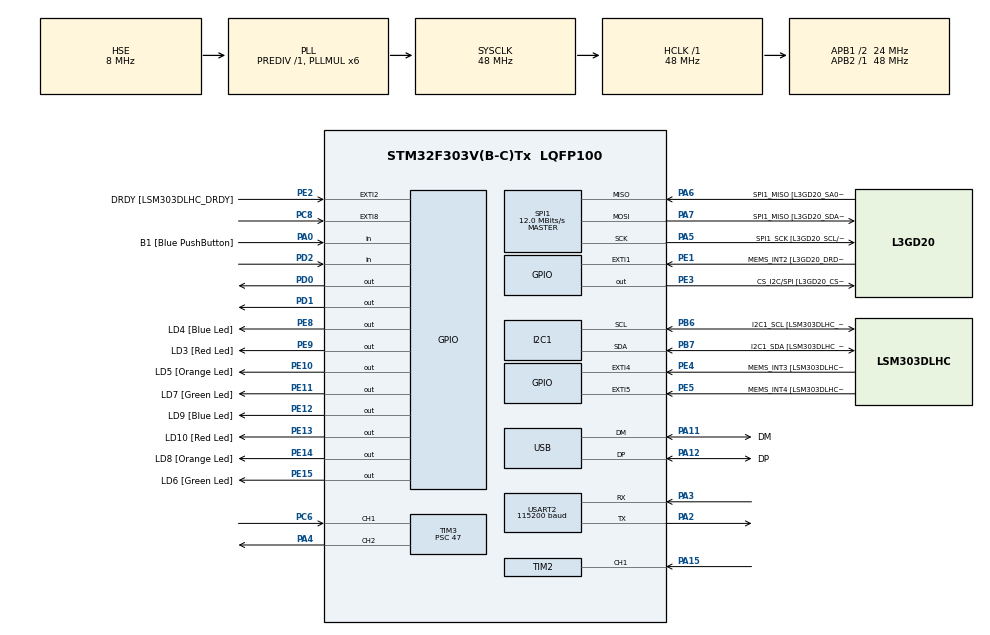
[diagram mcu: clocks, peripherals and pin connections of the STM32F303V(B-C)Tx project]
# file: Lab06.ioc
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I2C1.Timing=0x00201D2B
I2C1.Timing-I2C=0x2000090E
Mcu.Family=STM32F3
Mcu.Name=STM32F303V(B-C)Tx
Mcu.Package=LQFP100
NVIC.EXTI9_5_IRQn=true\:0\:0\:false\:false\:true\:true\:true\:true
NVIC.PriorityGroup=NVIC_PRIORITYGROUP_0
NVIC.TIM2_IRQn=true\:0\:0\:false\:false\:true\:true\:true\:true
NVIC.TIM3_IRQn=true\:0\:0\:false\:false\:true\:true\:true\:true
PA0.GPIO_Label=B1 [Blue PushButton]
PA0.Signal=GPIO_Input
PA11.GPIO_Label=DM
PA11.Mode=Device
PA11.Signal=USB_DM
PA12.GPIO_Label=DP
PA12.Mode=Device
PA12.Signal=USB_DP
PA13.GPIO_Label=SWDIO
PA13.Mode=Serial_Wire
PA13.Signal=SYS_JTMS-SWDIO
PA14.GPIO_Label=SWCLK
PA14.Mode=Serial_Wire
PA14.Signal=SYS_JTCK-SWCLK
PA15.Signal=S_TIM2_CH1_ETR
PA2.Mode=Asynchronous
PA2.Signal=USART2_TX
PA3.Mode=Asynchronous
PA3.Signal=USART2_RX
PA4.Signal=S_TIM3_CH2
PA5.GPIO_Label=SPI1_SCK [L3GD20_SCL/SPC]
PA5.Mode=Full_Duplex_Master
PA5.Signal=SPI1_SCK
PA6.GPIO_Label=SPI1_MISO [L3GD20_SA0/SDO]
PA6.Mode=Full_Duplex_Master
PA6.Signal=SPI1_MISO
PA7.GPIO_Label=SPI1_MISO [L3GD20_SDA/SDI/SDO]
PA7.Mode=Full_Duplex_Master
PA7.Signal=SPI1_MOSI
PB3.GPIO_Label=SWO
PB3.Signal=SYS_JTDO-TRACESWO
PB6.GPIO_Label=I2C1_SCL [LSM303DLHC_SCL]
PB6.GPIO_Pu=GPIO_PULLUP
PB6.Mode=I2C
PB6.Signal=I2C1_SCL
PB7.GPIO_Label=I2C1_SDA [LSM303DLHC_SDA]
PB7.GPIO_Pu=GPIO_PULLUP
PB7.Mode=I2C
PB7.Signal=I2C1_SDA
PC14-OSC32_IN.GPIO_Label=OSC32_IN
PC14-OSC32_IN.Signal=RCC_OSC32_IN
PC15-OSC32_OUT.GPIO_Label=OSC32_OUT
PC15-OSC32_OUT.Signal=RCC_OSC32_OUT
PC6.Signal=S_TIM3_CH1
PC8.Signal=GPXTI8
PD0.Signal=GPIO_Output
PD1.Signal=GPIO_Output
PD2.Signal=GPIO_Input
PE1.GPIO_Label=MEMS_INT2 [L3GD20_DRDY/INT2]
PE1.GPIO_ModeDefaultEXTI=GPIO_MODE_EVT_RISING
PE1.Signal=GPXTI1
PE10.GPIO_Label=LD5 [Orange Led]
PE10.Signal=GPIO_Output
PE11.GPIO_Label=LD7 [Green Led]
PE11.Signal=GPIO_Output
PE12.GPIO_Label=LD9 [Blue Led]
PE12.Signal=GPIO_Output
PE13.GPIO_Label=LD10 [Red Led]
PE13.Signal=GPIO_Output
PE14.GPIO_Label=LD8 [Orange Led]
PE14.Signal=GPIO_Output
PE15.GPIO_Label=LD6 [Green Led]
PE15.Signal=GPIO_Output
PE2.GPIO_Label=DRDY [LSM303DLHC_DRDY]
PE2.GPIO_ModeDefaultEXTI=GPIO_MODE_EVT_RISING
PE2.Signal=GPXTI2
PE3.GPIO_Label=CS_I2C/SPI [L3GD20_CS_I2C/SPI]
PE3.Signal=GPIO_Output
PE4.GPIO_Label=MEMS_INT3 [LSM303DLHC_INT1]
PE4.GPIO_ModeDefaultEXTI=GPIO_MODE_EVT_RISING
PE4.Signal=GPXTI4
PE5.GPIO_Label=MEMS_INT4 [LSM303DLHC_INT2]
PE5.GPIO_ModeDefaultEXTI=GPIO_MODE_EVT_RISING
PE5.Signal=GPXTI5
PE8.GPIO_Label=LD4 [Blue Led]
PE8.Signal=GPIO_Output
PE9.GPIO_Label=LD3 [Red Led]
PE9.Signal=GPIO_Output
PF0-OSC_IN.GPIO_Label=OSC_IN
PF0-OSC_IN.Mode=HSE-External-Clock-Source
PF0-OSC_IN.Signal=RCC_OSC_IN
PF1-OSC_OUT.GPIO_Label=OSC_OUT
PF1-OSC_OUT.Signal=RCC_OSC_OUT
ProjectManager.HeapSize=0x200
ProjectManager.StackSize=0x400
ProjectManager.TargetToolchain=CMake
RCC.AHBFreq_Value=48000000
RCC.APB1CLKDivider=RCC_HCLK_DIV2
RCC.APB1Freq_Value=24000000
RCC.APB1TimFreq_Value=48000000
RCC.APB2Freq_Value=48000000
RCC.APB2TimFreq_Value=48000000
RCC.CortexFreq_Value=48000000
RCC.HCLKFreq_Value=48000000
RCC.HSE_VALUE=8000000
RCC.HSI_VALUE=8000000
RCC.LSE_VALUE=32768
RCC.PLLMUL=RCC_PLL_MUL6
RCC.SYSCLKFreq_VALUE=48000000
RCC.SYSCLKSourceVirtual=RCC_SYSCLKSOURCE_PLLCLK
RCC.USBFreq_Value=48000000
SH.S_TIM2_CH1_ETR.0=TIM2_CH1,Input_Capture1_from_TI1
SH.S_TIM3_CH1.0=TIM3_CH1,Input_Capture1_from_TI1
SH.S_TIM3_CH2.0=TIM3_CH2,PWM Generation2 CH2
SPI1.BaudRatePrescaler=SPI_BAUDRATEPRESCALER_4
SPI1.BaudRatePrescaler-Full_Duplex_Master=SPI_BAUDRATEPRESCALER_2
SPI1.CalculateBaudRate=12.0 MBits/s
SPI1.CalculateBaudRate-Full_Duplex_Master=24.0 MBits/s
SPI1.Direction=SPI_DIRECTION_2LINES
SPI1.Mode=SPI_MODE_MASTER
SPI1.Mode-Full_Duplex_Master=SPI_MODE_MASTER
SPI1.VirtualType=VM_MASTER
TIM2.Channel-Input_Capture1_from_TI1=TIM_CHANNEL_1
TIM2.Period=999
TIM2.Prescaler=47
TIM3.Channel-Input_Capture1_from_TI1=TIM_CHANNEL_1
TIM3.Channel-PWM\ Generation2\ CH2=TIM_CHANNEL_2
TIM3.Period=999
TIM3.Prescaler=47
USART2.BaudRate=115200
USART2.VirtualMode-Asynchronous=VM_ASYNC
VP_TIM2_VS_ClockSourceINT.Mode=Internal
VP_TIM3_VS_ClockSourceINT.Mode=Internal
board=STM32F3DISCOVERY

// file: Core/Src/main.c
/* USER CODE BEGIN Header */
/**
  ******************************************************************************
  * @file           : main.c
  * @brief          : Main program body
  ******************************************************************************
  * @attention
  *
  * Copyright (c) 2026 STMicroelectronics.
  * All rights reserved.
  *
  * This software is licensed under terms that can be found in the LICENSE file
  * in the root directory of this software component.
  * If no LICENSE file comes with this software, it is provided AS-IS.
  *
  ******************************************************************************
  */
/* USER CODE END Header */
#include "main.h"
#include "stdio.h"
#include "string.h"

I2C_HandleTypeDef hi2c1;

SPI_HandleTypeDef hspi1;

TIM_HandleTypeDef htim2;
TIM_HandleTypeDef htim3;

UART_HandleTypeDef huart2;

PCD_HandleTypeDef hpcd_USB_FS;

void SystemClock_Config(void);
static void MX_GPIO_Init(void);
static void MX_I2C1_Init(void);
static void MX_SPI1_Init(void);
static void MX_TIM2_Init(void);
static void MX_USART2_UART_Init(void);
static void MX_USB_PCD_Init(void);
static void MX_TIM3_Init(void);

/* USER CODE BEGIN 0 */

/* USER CODE BEGIN 0 */

// Task 1 and 2
static uint32_t captureBuffer[16];
static uint32_t lastCapture = 0;
static uint8_t  sampleIndex = 0;
static uint8_t  firstEdge   = 1;
static volatile uint8_t printFlag = 0;
static volatile float measuredFreq = 0.0f;
// Task 4
// static uint32_t ic_val1 = 0;
// static uint32_t ic_val2 = 0;
// static uint32_t period  = 0;

// Task 1
void HAL_GPIO_EXTI_Callback(uint16_t GPIO_Pin)
{
    if (GPIO_Pin != GPIO_PIN_8) return;

    if (firstEdge)
    {
        __HAL_TIM_SET_COUNTER(&htim2, 0);
        HAL_TIM_Base_Start(&htim2);
        lastCapture = 0;
        firstEdge   = 0;
    }
    else
    {
        uint32_t now = __HAL_TIM_GET_COUNTER(&htim2);

        uint32_t period;
        if (now >= lastCapture)
            period = now - lastCapture;
        else
            period = (0xFFFFFFFFUL - lastCapture) + now + 1UL;

        captureBuffer[sampleIndex++] = period;
        lastCapture = now;

        if (sampleIndex >= 16)HAL_Delay(100);

        {
            sampleIndex = 0;
            firstEdge   = 1;
            HAL_TIM_Base_Stop(&htim2);
            printFlag   = 1;
        }
    }
}

// Task 2
// void HAL_TIM_IC_CaptureCallback(TIM_HandleTypeDef *htim)
// {
//     if (htim->Instance != TIM3) return;
//     if (htim->Channel  != HAL_TIM_ACTIVE_CHANNEL_1) return;

//     uint32_t now = HAL_TIM_ReadCapturedValue(htim, TIM_CHANNEL_1);

//     if (firstEdge)
//     {
//         lastCapture = now;
//         firstEdge = 0;
//     }
//     else
//     {
//         uint32_t period;
//         if (now >= lastCapture)
//             period = now - lastCapture;
//         else
//             period = (0xFFFFFFFFUL - lastCapture) + now + 1UL;

//         lastCapture = now;

//         if (period > 0)
//         {
//             measuredFreq = 666666 / (float)period;
//             printFlag   = 1;
//         }
//     }
// }

// Task 4
// void HAL_TIM_IC_CaptureCallback(TIM_HandleTypeDef *htim)
// {
//     if (htim->Instance != TIM3) return;
//     if (htim->Channel  != HAL_TIM_ACTIVE_CHANNEL_1) return;

//     uint32_t now = HAL_TIM_ReadCapturedValue(htim, TIM_CHANNEL_1);

//     if (firstEdge)
//     {
//         ic_val1 = now;
//         firstEdge = 0;
//     }
//     else
//     {
//         ic_val2 = now;
//         if (ic_val2 >= ic_val1)
//             period = ic_val2 - ic_val1;
//         else
//             period = (0xFFFFUL - ic_val1) + ic_val2 + 1UL;

//         if (period > 0)
//         {
//             measuredFreq = 1000000.0f / (float)period;
//             printFlag    = 1;
//         }

//         ic_val1 = ic_val2;
//     }
// }
/* USER CODE END 0 */

int main(void)
{

  /* MCU Configuration--------------------------------------------------------*/

  /* Reset of all peripherals, Initializes the Flash interface and the Systick. */
  HAL_Init();

  /* Configure the system clock */
  SystemClock_Config();

  /* Initialize all configured peripherals */
  MX_GPIO_Init();
  MX_I2C1_Init();
  MX_SPI1_Init();
  MX_TIM2_Init();
  MX_USART2_UART_Init();
  MX_USB_PCD_Init();
  MX_TIM3_Init();

  /* Infinite loop */
  /* USER CODE BEGIN WHILE */

  // Task 2
  // HAL_TIM_IC_Start_IT(&htim3, TIM_CHANNEL_1);

  // Task 3
  // HAL_TIM_PWM_Start(&htim3, TIM_CHANNEL_2);
  // __HAL_TIM_SET_COMPARE(&htim3, TIM_CHANNEL_2, 500);

  // HAL_GPIO_WritePin(GPIOD, GPIO_PIN_0, GPIO_PIN_SET);
  // HAL_GPIO_WritePin(GPIOD, GPIO_PIN_1, GPIO_PIN_RESET);

  // HAL_TIM_Base_Start(&htim2);

  // Task 4
  HAL_TIM_PWM_Start(&htim3, TIM_CHANNEL_2);
  __HAL_TIM_SET_COMPARE(&htim3, TIM_CHANNEL_2, 32767);
  HAL_GPIO_WritePin(GPIOD, GPIO_PIN_0, GPIO_PIN_SET);
  HAL_GPIO_WritePin(GPIOD, GPIO_PIN_1, GPIO_PIN_RESET);
  HAL_TIM_IC_Start_IT(&htim3, TIM_CHANNEL_1);

  char msg[80];
  while (1)
  {
    /* USER CODE END WHILE */
    //Task 1
    HAL_Delay(100);

    if (printFlag)
    {
      printFlag = 0;
      uint64_t sum = 0;
      for (int i = 0; i < 16; i++){
        sum += captureBuffer[i];
      }

      float avgPeriod = (float)sum / (float)16;
      float frequency = 4800000.0f / avgPeriod;
      float errHigh = 4800000.0f / (avgPeriod - 1.0f);
      float errLow = 4800000.0f / (avgPeriod + 1.0f);
      float errorMargin = (errHigh - errLow) / 2.0f;

      snprintf(msg, sizeof(msg), "Freq: %.2f Hz +/- %.4f Hz\r\n", frequency, errorMargin);
      HAL_UART_Transmit(&huart2, (uint8_t*)msg, strlen(msg), HAL_MAX_DELAY);
    }

    //Task 2
    // HAL_Delay(100);

    // if (printFlag)
    // {
    //     printFlag = 0;

    //     snprintf(msg, sizeof(msg), "Freq: %.2f Hz\r\n", measuredFreq);
    //     HAL_UART_Transmit(&huart2, (uint8_t*)msg, strlen(msg), HAL_MAX_DELAY);
    // }

    // Task 3
    // uint32_t t1 = 0, t2 = 0;
    // uint32_t ticks = 0;
    // float frequency = 0.0f;
    // float rpm = 0.0f;

    // while (HAL_GPIO_ReadPin(GPIOD, GPIO_PIN_2) == GPIO_PIN_RESET);
    // while (HAL_GPIO_ReadPin(GPIOD, GPIO_PIN_2) == GPIO_PIN_SET);
    // t1 = __HAL_TIM_GET_COUNTER(&htim2);

    // while (HAL_GPIO_ReadPin(GPIOD, GPIO_PIN_2) == GPIO_PIN_RESET);
    // while (HAL_GPIO_ReadPin(GPIOD, GPIO_PIN_2) == GPIO_PIN_SET);
    // t2 = __HAL_TIM_GET_COUNTER(&htim2);

    // if (t2 >= t1)
    //     ticks = t2 - t1;
    // else
    //     ticks = (4294967295UL - t1) + t2 + 1;

    // if (ticks > 0){
    //     frequency = 4800000.0f / (float)ticks;
    //     rpm = (60.0f * frequency) / 20;
    //     int len = snprintf(msg, sizeof(msg), "Ticks: %lu  Freq: %.2f Hz  RPM: %.2f\r\n", (unsigned long)ticks, frequency, rpm);
    //     HAL_UART_Transmit(&huart2, (uint8_t*)msg, len, HAL_MAX_DELAY);
    // }

    //Task 4
    // if (printFlag)
    // {
    // 	printFlag = 0;
    // 	float rpm = 0.0f;
    // 	rpm = (60.0f * measuredFreq) / 20.0f;
    // 	int len = snprintf(msg, sizeof(msg), "Freq: %.2f Hz  RPM: %.2f\r\n", measuredFreq, rpm);
    // 	HAL_UART_Transmit(&huart2, (uint8_t*)msg, len, HAL_MAX_DELAY);
    // }
  }
}

void SystemClock_Config(void)
{
  RCC_OscInitTypeDef RCC_OscInitStruct = {0};
  RCC_ClkInitTypeDef RCC_ClkInitStruct = {0};
  RCC_PeriphCLKInitTypeDef PeriphClkInit = {0};

  /** Initializes the RCC Oscillators according to the specified parameters
  * in the RCC_OscInitTypeDef structure.
  */
  RCC_OscInitStruct.OscillatorType = RCC_OSCILLATORTYPE_HSI|RCC_OSCILLATORTYPE_HSE;
  RCC_OscInitStruct.HSEState = RCC_HSE_BYPASS;
  RCC_OscInitStruct.HSEPredivValue = RCC_HSE_PREDIV_DIV1;
  RCC_OscInitStruct.HSIState = RCC_HSI_ON;
  RCC_OscInitStruct.HSICalibrationValue = RCC_HSICALIBRATION_DEFAULT;
  RCC_OscInitStruct.PLL.PLLState = RCC_PLL_ON;
  RCC_OscInitStruct.PLL.PLLSource = RCC_PLLSOURCE_HSE;
  RCC_OscInitStruct.PLL.PLLMUL = RCC_PLL_MUL6;
  if (HAL_RCC_OscConfig(&RCC_OscInitStruct) != HAL_OK)
  {
    Error_Handler();
  }

  /** Initializes the CPU, AHB and APB buses clocks
  */
  RCC_ClkInitStruct.ClockType = RCC_CLOCKTYPE_HCLK|RCC_CLOCKTYPE_SYSCLK
                              |RCC_CLOCKTYPE_PCLK1|RCC_CLOCKTYPE_PCLK2;
  RCC_ClkInitStruct.SYSCLKSource = RCC_SYSCLKSOURCE_PLLCLK;
  RCC_ClkInitStruct.AHBCLKDivider = RCC_SYSCLK_DIV1;
  RCC_ClkInitStruct.APB1CLKDivider = RCC_HCLK_DIV2;
  RCC_ClkInitStruct.APB2CLKDivider = RCC_HCLK_DIV1;

  if (HAL_RCC_ClockConfig(&RCC_ClkInitStruct, FLASH_LATENCY_1) != HAL_OK)
  {
    Error_Handler();
  }
  PeriphClkInit.PeriphClockSelection = RCC_PERIPHCLK_USB|RCC_PERIPHCLK_USART2
                              |RCC_PERIPHCLK_I2C1;
  PeriphClkInit.Usart2ClockSelection = RCC_USART2CLKSOURCE_PCLK1;
  PeriphClkInit.I2c1ClockSelection = RCC_I2C1CLKSOURCE_HSI;
  PeriphClkInit.USBClockSelection = RCC_USBCLKSOURCE_PLL;
  if (HAL_RCCEx_PeriphCLKConfig(&PeriphClkInit) != HAL_OK)
  {
    Error_Handler();
  }
}

static void MX_I2C1_Init(void)
{

  hi2c1.Instance = I2C1;
  hi2c1.Init.Timing = 0x00201D2B;
  hi2c1.Init.OwnAddress1 = 0;
  hi2c1.Init.AddressingMode = I2C_ADDRESSINGMODE_7BIT;
  hi2c1.Init.DualAddressMode = I2C_DUALADDRESS_DISABLE;
  hi2c1.Init.OwnAddress2 = 0;
  hi2c1.Init.OwnAddress2Masks = I2C_OA2_NOMASK;
  hi2c1.Init.GeneralCallMode = I2C_GENERALCALL_DISABLE;
  hi2c1.Init.NoStretchMode = I2C_NOSTRETCH_DISABLE;
  if (HAL_I2C_Init(&hi2c1) != HAL_OK)
  {
    Error_Handler();
  }

  /** Configure Analogue filter
  */
  if (HAL_I2CEx_ConfigAnalogFilter(&hi2c1, I2C_ANALOGFILTER_ENABLE) != HAL_OK)
  {
    Error_Handler();
  }

  /** Configure Digital filter
  */
  if (HAL_I2CEx_ConfigDigitalFilter(&hi2c1, 0) != HAL_OK)
  {
    Error_Handler();
  }

}

static void MX_SPI1_Init(void)
{

  /* SPI1 parameter configuration*/
  hspi1.Instance = SPI1;
  hspi1.Init.Mode = SPI_MODE_MASTER;
  hspi1.Init.Direction = SPI_DIRECTION_2LINES;
  hspi1.Init.DataSize = SPI_DATASIZE_4BIT;
  hspi1.Init.CLKPolarity = SPI_POLARITY_LOW;
  hspi1.Init.CLKPhase = SPI_PHASE_1EDGE;
  hspi1.Init.NSS = SPI_NSS_SOFT;
  hspi1.Init.BaudRatePrescaler = SPI_BAUDRATEPRESCALER_4;
  hspi1.Init.FirstBit = SPI_FIRSTBIT_MSB;
  hspi1.Init.TIMode = SPI_TIMODE_DISABLE;
  hspi1.Init.CRCCalculation = SPI_CRCCALCULATION_DISABLE;
  hspi1.Init.CRCPolynomial = 7;
  hspi1.Init.CRCLength = SPI_CRC_LENGTH_DATASIZE;
  hspi1.Init.NSSPMode = SPI_NSS_PULSE_ENABLE;
  if (HAL_SPI_Init(&hspi1) != HAL_OK)
  {
    Error_Handler();
  }

}

static void MX_TIM2_Init(void)
{

  TIM_ClockConfigTypeDef sClockSourceConfig = {0};
  TIM_MasterConfigTypeDef sMasterConfig = {0};
  TIM_IC_InitTypeDef sConfigIC = {0};

  htim2.Instance = TIM2;
  htim2.Init.Prescaler = 47;
  htim2.Init.CounterMode = TIM_COUNTERMODE_UP;
  htim2.Init.Period = 999;
  htim2.Init.ClockDivision = TIM_CLOCKDIVISION_DIV1;
  htim2.Init.AutoReloadPreload = TIM_AUTORELOAD_PRELOAD_DISABLE;
  if (HAL_TIM_Base_Init(&htim2) != HAL_OK)
  {
    Error_Handler();
  }
  sClockSourceConfig.ClockSource = TIM_CLOCKSOURCE_INTERNAL;
  if (HAL_TIM_ConfigClockSource(&htim2, &sClockSourceConfig) != HAL_OK)
  {
    Error_Handler();
  }
  if (HAL_TIM_IC_Init(&htim2) != HAL_OK)
  {
    Error_Handler();
  }
  sMasterConfig.MasterOutputTrigger = TIM_TRGO_RESET;
  sMasterConfig.MasterSlaveMode = TIM_MASTERSLAVEMODE_DISABLE;
  if (HAL_TIMEx_MasterConfigSynchronization(&htim2, &sMasterConfig) != HAL_OK)
  {
    Error_Handler();
  }
  sConfigIC.ICPolarity = TIM_INPUTCHANNELPOLARITY_RISING;
  sConfigIC.ICSelection = TIM_ICSELECTION_DIRECTTI;
  sConfigIC.ICPrescaler = TIM_ICPSC_DIV1;
  sConfigIC.ICFilter = 0;
  if (HAL_TIM_IC_ConfigChannel(&htim2, &sConfigIC, TIM_CHANNEL_1) != HAL_OK)
  {
    Error_Handler();
  }

}

static void MX_TIM3_Init(void)
{

  TIM_ClockConfigTypeDef sClockSourceConfig = {0};
  TIM_MasterConfigTypeDef sMasterConfig = {0};
  TIM_IC_InitTypeDef sConfigIC = {0};
  TIM_OC_InitTypeDef sConfigOC = {0};

  htim3.Instance = TIM3;
  htim3.Init.Prescaler = 47;
  htim3.Init.CounterMode = TIM_COUNTERMODE_UP;
  htim3.Init.Period = 0xFFFF;
  htim3.Init.ClockDivision = TIM_CLOCKDIVISION_DIV1;
  htim3.Init.AutoReloadPreload = TIM_AUTORELOAD_PRELOAD_DISABLE;
  if (HAL_TIM_Base_Init(&htim3) != HAL_OK)
  {
    Error_Handler();
  }
  sClockSourceConfig.ClockSource = TIM_CLOCKSOURCE_INTERNAL;
  if (HAL_TIM_ConfigClockSource(&htim3, &sClockSourceConfig) != HAL_OK)
  {
    Error_Handler();
  }
  if (HAL_TIM_IC_Init(&htim3) != HAL_OK)
  {
    Error_Handler();
  }
  if (HAL_TIM_PWM_Init(&htim3) != HAL_OK)
  {
    Error_Handler();
  }
  sMasterConfig.MasterOutputTrigger = TIM_TRGO_RESET;
  sMasterConfig.MasterSlaveMode = TIM_MASTERSLAVEMODE_DISABLE;
  if (HAL_TIMEx_MasterConfigSynchronization(&htim3, &sMasterConfig) != HAL_OK)
  {
    Error_Handler();
  }
  sConfigIC.ICPolarity = TIM_INPUTCHANNELPOLARITY_RISING;
  sConfigIC.ICSelection = TIM_ICSELECTION_DIRECTTI;
  sConfigIC.ICPrescaler = TIM_ICPSC_DIV1;
  sConfigIC.ICFilter = 0;
  if (HAL_TIM_IC_ConfigChannel(&htim3, &sConfigIC, TIM_CHANNEL_1) != HAL_OK)
  {
    Error_Handler();
  }
  sConfigOC.OCMode = TIM_OCMODE_PWM1;
  sConfigOC.Pulse = 0;
  sConfigOC.OCPolarity = TIM_OCPOLARITY_HIGH;
  sConfigOC.OCFastMode = TIM_OCFAST_DISABLE;
  if (HAL_TIM_PWM_ConfigChannel(&htim3, &sConfigOC, TIM_CHANNEL_2) != HAL_OK)
  {
    Error_Handler();
  }
  /* USER CODE BEGIN TIM3_Init 2 */
  HAL_NVIC_SetPriority(TIM3_IRQn, 0, 0);
  HAL_NVIC_EnableIRQ(TIM3_IRQn);
  /* USER CODE END TIM3_Init 2 */
  HAL_TIM_MspPostInit(&htim3);

}

static void MX_USART2_UART_Init(void)
{

  huart2.Instance = USART2;
  huart2.Init.BaudRate = 115200;
  huart2.Init.WordLength = UART_WORDLENGTH_8B;
  huart2.Init.StopBits = UART_STOPBITS_1;
  huart2.Init.Parity = UART_PARITY_NONE;
  huart2.Init.Mode = UART_MODE_TX_RX;
  huart2.Init.HwFlowCtl = UART_HWCONTROL_NONE;
  huart2.Init.OverSampling = UART_OVERSAMPLING_16;
  huart2.Init.OneBitSampling = UART_ONE_BIT_SAMPLE_DISABLE;
  huart2.AdvancedInit.AdvFeatureInit = UART_ADVFEATURE_NO_INIT;
  if (HAL_UART_Init(&huart2) != HAL_OK)
  {
    Error_Handler();
  }

}

static void MX_USB_PCD_Init(void)
{

  hpcd_USB_FS.Instance = USB;
  hpcd_USB_FS.Init.dev_endpoints = 8;
  hpcd_USB_FS.Init.speed = PCD_SPEED_FULL;
  hpcd_USB_FS.Init.phy_itface = PCD_PHY_EMBEDDED;
  hpcd_USB_FS.Init.low_power_enable = DISABLE;
  hpcd_USB_FS.Init.battery_charging_enable = DISABLE;
  if (HAL_PCD_Init(&hpcd_USB_FS) != HAL_OK)
  {
    Error_Handler();
  }

}

static void MX_GPIO_Init(void)
{
  GPIO_InitTypeDef GPIO_InitStruct = {0};

  /* GPIO Ports Clock Enable */
  __HAL_RCC_GPIOE_CLK_ENABLE();
  __HAL_RCC_GPIOC_CLK_ENABLE();
  __HAL_RCC_GPIOF_CLK_ENABLE();
  __HAL_RCC_GPIOA_CLK_ENABLE();
  __HAL_RCC_GPIOD_CLK_ENABLE();
  __HAL_RCC_GPIOB_CLK_ENABLE();

  /*Configure GPIO pin Output Level */
  HAL_GPIO_WritePin(GPIOE, CS_I2C_SPI_Pin|LD4_Pin|LD3_Pin|LD5_Pin
                          |LD7_Pin|LD9_Pin|LD10_Pin|LD8_Pin
                          |LD6_Pin, GPIO_PIN_RESET);

  /*Configure GPIO pin Output Level */
  HAL_GPIO_WritePin(GPIOD, GPIO_PIN_0|GPIO_PIN_1, GPIO_PIN_RESET);

  /*Configure GPIO pins : DRDY_Pin MEMS_INT3_Pin MEMS_INT4_Pin MEMS_INT2_Pin */
  GPIO_InitStruct.Pin = DRDY_Pin|MEMS_INT3_Pin|MEMS_INT4_Pin|MEMS_INT2_Pin;
  GPIO_InitStruct.Mode = GPIO_MODE_EVT_RISING;
  GPIO_InitStruct.Pull = GPIO_NOPULL;
  HAL_GPIO_Init(GPIOE, &GPIO_InitStruct);

  /*Configure GPIO pins : CS_I2C_SPI_Pin LD4_Pin LD3_Pin LD5_Pin
                           LD7_Pin LD9_Pin LD10_Pin LD8_Pin
                           LD6_Pin */
  GPIO_InitStruct.Pin = CS_I2C_SPI_Pin|LD4_Pin|LD3_Pin|LD5_Pin
                          |LD7_Pin|LD9_Pin|LD10_Pin|LD8_Pin
                          |LD6_Pin;
  GPIO_InitStruct.Mode = GPIO_MODE_OUTPUT_PP;
  GPIO_InitStruct.Pull = GPIO_NOPULL;
  GPIO_InitStruct.Speed = GPIO_SPEED_FREQ_LOW;
  HAL_GPIO_Init(GPIOE, &GPIO_InitStruct);

  /*Configure GPIO pin : B1_Pin */
  GPIO_InitStruct.Pin = B1_Pin;
  GPIO_InitStruct.Mode = GPIO_MODE_INPUT;
  GPIO_InitStruct.Pull = GPIO_NOPULL;
  HAL_GPIO_Init(B1_GPIO_Port, &GPIO_InitStruct);

  /*Configure GPIO pin : PC8 */
  GPIO_InitStruct.Pin = GPIO_PIN_8;
  GPIO_InitStruct.Mode = GPIO_MODE_IT_RISING;
  GPIO_InitStruct.Pull = GPIO_NOPULL;
  HAL_GPIO_Init(GPIOC, &GPIO_InitStruct);

  /*Configure GPIO pins : PD0 PD1 */
  GPIO_InitStruct.Pin = GPIO_PIN_0|GPIO_PIN_1;
  GPIO_InitStruct.Mode = GPIO_MODE_OUTPUT_PP;
  GPIO_InitStruct.Pull = GPIO_NOPULL;
  GPIO_InitStruct.Speed = GPIO_SPEED_FREQ_LOW;
  HAL_GPIO_Init(GPIOD, &GPIO_InitStruct);

  /*Configure GPIO pin : PD2 */
  GPIO_InitStruct.Pin = GPIO_PIN_2;
  GPIO_InitStruct.Mode = GPIO_MODE_INPUT;
  GPIO_InitStruct.Pull = GPIO_NOPULL;
  HAL_GPIO_Init(GPIOD, &GPIO_InitStruct);

  /* EXTI interrupt init*/
  HAL_NVIC_SetPriority(EXTI9_5_IRQn, 0, 0);
  HAL_NVIC_EnableIRQ(EXTI9_5_IRQn);

}

void Error_Handler(void)
{
  __disable_irq();
  while (1)
  {
  }
}
